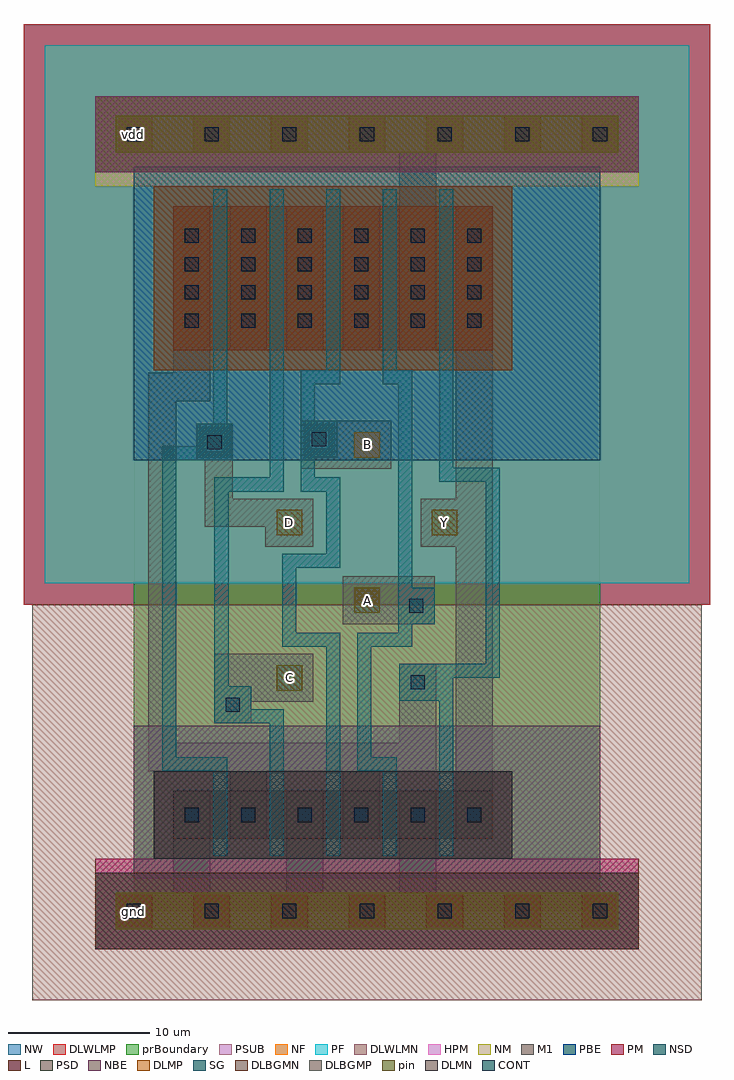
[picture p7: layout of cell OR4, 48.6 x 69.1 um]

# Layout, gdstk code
import gdstk
lib = gdstk.Library(unit=1e-6, precision=1e-09)
def R(c, l, rs):  # rectangles x0, y0, x1, y1
    for r in rs: c.add(gdstk.rectangle(r[:2], r[2:], *l))
def A(c, l, x, y, w, h, nx, ny, dx, dy):  # array of equal rectangles
    R(c, l, [(x+i*dx, y+j*dy, x+i*dx+w, y+j*dy+h) for i in range(nx) for j in range(ny)])
def P(c, l, *ps):  # polygons
    for p in ps: c.add(gdstk.Polygon(p, *l))
L = (3, 0)
NM = (7, 0)
SG = (8, 0)
PSD = (9, 0)
CONT = (11, 0)
M1 = (13, 0)
NF = (25, 0)
PF = (26, 0)
NSD = (28, 0)
HPM = (33, 0)
PM = (35, 0)
NW = (36, 0)
pin = (48, 1)
PSUB = (140, 0)
PBE = (146, 0)
NBE = (147, 0)
DLWLMP = (150, 0)
DLWLMN = (151, 0)
DLMP = (157, 0)
DLMN = (158, 0)
DLBGMP = (177, 0)
DLBGMN = (178, 0)
prBoundary = (235, 0)

or4 = lib.new_cell('OR4')
A(or4, L, -1.3, -1.3, 2.6, 2.6, 7, 2, 5.5, 55)
R(or4, L, [(2.8,5.1,25.4,8.5), (2.8,39.7,25.4,49.9)])
R(or4, NM, [(-2.75,-2.7,35.75,2.7)])
P(or4, NM, [(1.4,38.3),(1.4,51.3),(-2.75,51.3),(-2.75,57.7),(35.75,57.7),(35.75,51.3),(26.8,51.3),(26.8,38.3)])
P(or4, SG, [(5.6,3.9),(5.6,9.9),(2,9.9),(2,32.9),(4.4,32.9),(4.4,34.5),(5.6,34.5),(5.6,51.1),(6.6,51.1),(6.6,34.5),(7,34.5),(7,31.9),(3,31.9),(3,10.9),(6.6,10.9),(6.6,3.9)],
  [(9.6,3.9),(9.6,13.3),(5.7,13.3),(5.7,30.7),(9.6,30.7),(9.6,51.1),(10.6,51.1),(10.6,29.7),(6.7,29.7),(6.7,15.9),(8.3,15.9),(8.3,14.3),(10.6,14.3),(10.6,3.9)],
  [(13.6,3.9),(13.6,18.7),(10.5,18.7),(10.5,25.3),(13.6,25.3),(13.6,29.7),(11.8,29.7),(11.8,38.3),(13.6,38.3),(13.6,51.1),(14.6,51.1),(14.6,37.3),(12.8,37.3),(12.8,34.7),(14.4,34.7),(14.4,32.1),(12.8,32.1),(12.8,30.7),(14.6,30.7),(14.6,24.3),(11.5,24.3),(11.5,19.7),(14.6,19.7),(14.6,3.9)],
  [(17.6,3.9),(17.6,9.9),(15.8,9.9),(15.8,19.7),(18.7,19.7),(18.7,37.3),(17.6,37.3),(17.6,51.1),(18.6,51.1),(18.6,38.3),(19.7,38.3),(19.7,22.9),(21.3,22.9),(21.3,20.3),(19.7,20.3),(19.7,18.7),(16.8,18.7),(16.8,10.9),(18.6,10.9),(18.6,3.9)],
  [(21.6,3.9),(21.6,14.9),(18.8,14.9),(18.8,17.5),(24.9,17.5),(24.9,30.4),(21.6,30.4),(21.6,51.1),(22.6,51.1),(22.6,31.4),(25.9,31.4),(25.9,16.5),(22.6,16.5),(22.6,3.9)])
R(or4, PSD, [(1.4,3.7,26.8,9.9), (-2.75,52.3,35.75,57.7)])
A(or4, CONT, -0.5, -0.5, 1, 1, 7, 2, 5.5, 55)
A(or4, CONT, 3.6, 41.3, 1, 1, 1, 4, 0, 2)
A(or4, CONT, 23.6, 41.3, 1, 1, 1, 4, 0, 2)
R(or4, CONT, [(3.6,6.3,4.6,7.3), (7.6,6.3,8.6,7.3), (7.6,6.3,8.6,7.3), (11.6,6.3,12.6,7.3), (11.6,6.3,12.6,7.3), (15.6,6.3,16.6,7.3), (15.6,6.3,16.6,7.3), (19.6,6.3,20.6,7.3), (19.6,6.3,20.6,7.3), (23.6,6.3,24.6,7.3), (6.5,14.1,7.5,15.1), (19.6,15.7,20.6,16.7), (19.5,21.1,20.5,22.1), (5.2,32.7,6.2,33.7), (12.6,32.9,13.6,33.9), (7.6,41.3,8.6,42.3), (7.6,41.3,8.6,42.3), (11.6,41.3,12.6,42.3), (11.6,41.3,12.6,42.3), (15.6,41.3,16.6,42.3), (15.6,41.3,16.6,42.3), (19.6,41.3,20.6,42.3), (19.6,41.3,20.6,42.3), (7.6,43.3,8.6,44.3), (7.6,43.3,8.6,44.3), (11.6,43.3,12.6,44.3), (11.6,43.3,12.6,44.3), (15.6,43.3,16.6,44.3), (15.6,43.3,16.6,44.3), (19.6,43.3,20.6,44.3), (19.6,43.3,20.6,44.3), (7.6,45.3,8.6,46.3), (7.6,45.3,8.6,46.3), (11.6,45.3,12.6,46.3), (11.6,45.3,12.6,46.3), (15.6,45.3,16.6,46.3), (15.6,45.3,16.6,46.3), (19.6,45.3,20.6,46.3), (19.6,45.3,20.6,46.3), (7.6,47.3,8.6,48.3), (7.6,47.3,8.6,48.3), (11.6,47.3,12.6,48.3), (11.6,47.3,12.6,48.3), (15.6,47.3,16.6,48.3), (15.6,47.3,16.6,48.3), (19.6,47.3,20.6,48.3), (19.6,47.3,20.6,48.3)])
A(or4, M1, 6.8, 39.7, 2.6, 10.2, 3, 1, 4, 0)
R(or4, M1, [(14.8,20.3,21.3,23.7), (11.8,31.3,18.2,34.7)])
P(or4, M1, [(-1.3,-1.3),(-1.3,1.3),(2.8,1.3),(2.8,8.5),(5.4,8.5),(5.4,1.3),(10.8,1.3),(10.8,8.5),(13.4,8.5),(13.4,1.3),(18.8,1.3),(18.8,8.5),(21.4,8.5),(21.4,1.3),(34.3,1.3),(34.3,-1.3)],
  [(5.7,13.3),(5.7,18.2),(12.7,18.2),(12.7,14.8),(8.3,14.8),(8.3,13.3)],
  [(9.3,25.8),(9.3,27.2),(5,27.2),(5,31.9),(4.4,31.9),(4.4,34.5),(7,34.5),(7,29.2),(12.7,29.2),(12.7,25.8)],
  [(6.8,5.1),(6.8,9.9),(1,9.9),(1,38.1),(2.8,38.1),(2.8,49.9),(5.4,49.9),(5.4,36.1),(3,36.1),(3,11.9),(18.8,11.9),(18.8,17.5),(21.4,17.5),(21.4,9.9),(17.4,9.9),(17.4,5.1),(14.8,5.1),(14.8,9.9),(9.4,9.9),(9.4,5.1)],
  [(22.8,5.1),(22.8,25.8),(20.3,25.8),(20.3,29.2),(22.8,29.2),(22.8,49.9),(25.4,49.9),(25.4,5.1)],
  [(18.8,39.7),(18.8,53.7),(-1.3,53.7),(-1.3,56.3),(34.3,56.3),(34.3,53.7),(21.4,53.7),(21.4,39.7)])
R(or4, NF, [(-6.3,23.2,39.3,61.3)])
R(or4, PF, [(-6.3,23.2,39.3,61.3)])
R(or4, NSD, [(-2.75,-2.7,35.75,2.7), (1.4,38.3,26.8,51.3)])
P(or4, HPM, [(-2.75,-2.7),(-2.75,3.7),(1.4,3.7),(1.4,9.9),(26.8,9.9),(26.8,3.7),(35.75,3.7),(35.75,-2.7)],
  [(1.4,38.3),(1.4,51.3),(-2.75,51.3),(-2.75,57.7),(35.75,57.7),(35.75,51.3),(26.8,51.3),(26.8,38.3)])
R(or4, PM, [(-2.75,52.3,35.75,57.7)])
P(or4, PM, [(-2.75,-2.7),(-2.75,3.7),(1.4,3.7),(1.4,9.9),(26.8,9.9),(26.8,3.7),(35.75,3.7),(35.75,-2.7)])
R(or4, NW, [(-7.8,21.7,40.8,62.8)])
R(or4, pin, [(-1.3,-1.3,34.3,1.3), (10.1,15.6,11.9,17.4), (15.6,21.1,17.4,22.9), (10.1,26.6,11.9,28.4), (21.1,26.6,22.9,28.4), (15.6,32.1,17.4,33.9), (-1.3,53.7,34.3,56.3)])
R(or4, PSUB, [(-6.3,23.2,39.3,61.3)])
R(or4, PBE, [(0,31.9,33,52.7)])
R(or4, NBE, [(0,2.3,33,13.1)])
R(or4, DLWLMP, [(-7.8,21.7,40.8,62.8)])
R(or4, DLWLMN, [(-7.2,-6.3,40.2,21.7)])
R(or4, DLMP, [(1.4,38.3,26.8,51.3)])
R(or4, DLMN, [(1.4,3.7,26.8,9.9)])
R(or4, DLBGMP, [(-2.75,52.3,35.75,57.7)])
R(or4, DLBGMN, [(-2.75,-2.7,35.75,2.7)])
R(or4, prBoundary, [(0,0,33,55)])
or4.add(gdstk.Label('A', (16.5,22), layer=48, texttype=0))
or4.add(gdstk.Label('B', (16.5,33), layer=48, texttype=0))
or4.add(gdstk.Label('C', (11,16.5), layer=48, texttype=0))
or4.add(gdstk.Label('D', (11,27.5), layer=48, texttype=0))
or4.add(gdstk.Label('Y', (22,27.5), layer=48, texttype=0))
or4.add(gdstk.Label('vdd', (0,55), layer=48, texttype=0))
or4.add(gdstk.Label('gnd', (0,0), layer=48, texttype=0))

lib.write_gds('OR4.gds')
